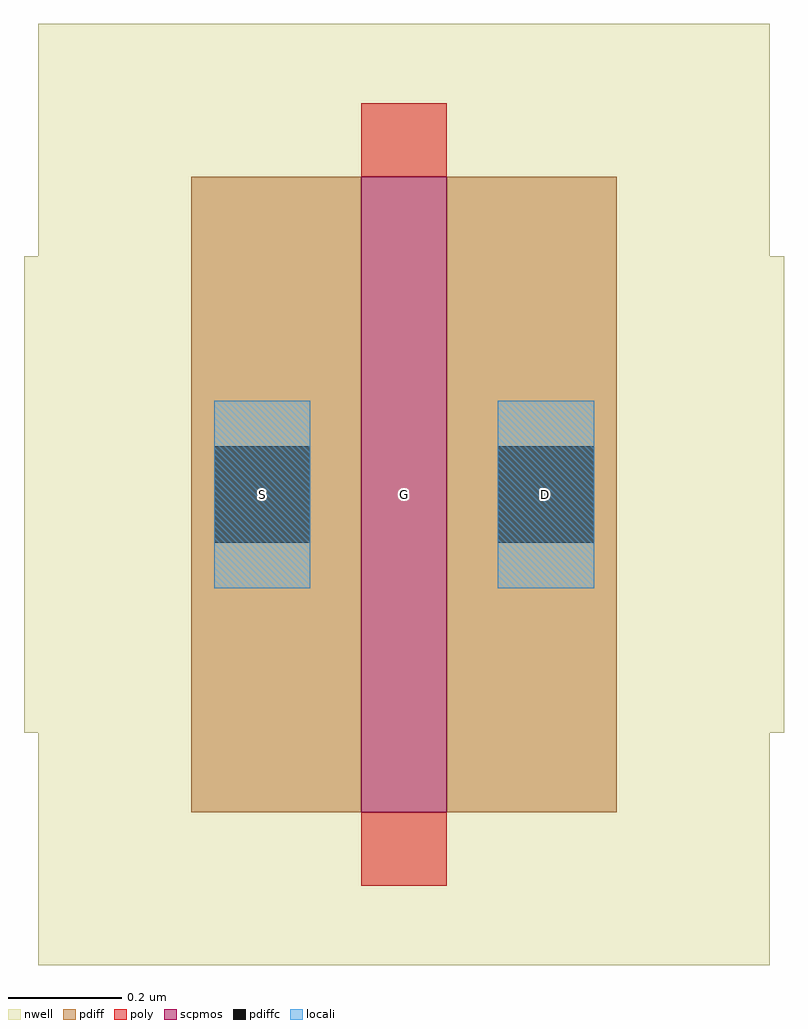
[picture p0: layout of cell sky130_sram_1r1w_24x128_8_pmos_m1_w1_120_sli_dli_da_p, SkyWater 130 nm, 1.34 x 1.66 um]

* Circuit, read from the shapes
.subckt sky130_sram_1r1w_24x128_8_pmos_m1_w1_120_sli_dli_da_p G S D
XM1 D G S n1 sky130_fd_pr__pfet_01v8 w=1.12 l=0.15
.ends

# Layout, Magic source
magic
tech sky130B
magscale 1 2
<< nwell >>
rect -54 -54 204 278
<< scpmos >>
rect 60 0 90 224
<< pdiff >>
rect 0 0 60 224
rect 90 0 150 224
<< poly >>
rect 60 224 90 250
rect 60 -26 90 0
<< locali >>
rect 8 79 42 145
rect 108 79 142 145
use sky130_sram_1r1w_24x128_8_contact_11  sky130_sram_1r1w_24x128_8_contact_11_0
transform 1 0 100 0 1 79
box -59 -51 109 117
use sky130_sram_1r1w_24x128_8_contact_11  sky130_sram_1r1w_24x128_8_contact_11_1
transform 1 0 0 0 1 79
box -59 -51 109 117
<< labels >>
rlabel poly s 75 112 75 112 4 G
port 1 nsew
rlabel locali s 25 112 25 112 4 S
port 2 nsew
rlabel locali s 125 112 125 112 4 D
port 3 nsew
<< properties >>
string FIXED_BBOX -54 -54 204 278
<< end >>

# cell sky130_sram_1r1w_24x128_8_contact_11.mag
magic
tech sky130B
magscale 1 2
<< nwell >>
rect -59 -51 109 117
<< pdiff >>
rect 0 50 50 62
rect 0 16 8 50
rect 42 16 50 50
rect 0 4 50 16
<< pdiffc >>
rect 8 16 42 50
<< locali >>
rect 8 50 42 66
rect 8 0 42 16
<< properties >>
string FIXED_BBOX -59 -51 109 117
<< end >>
